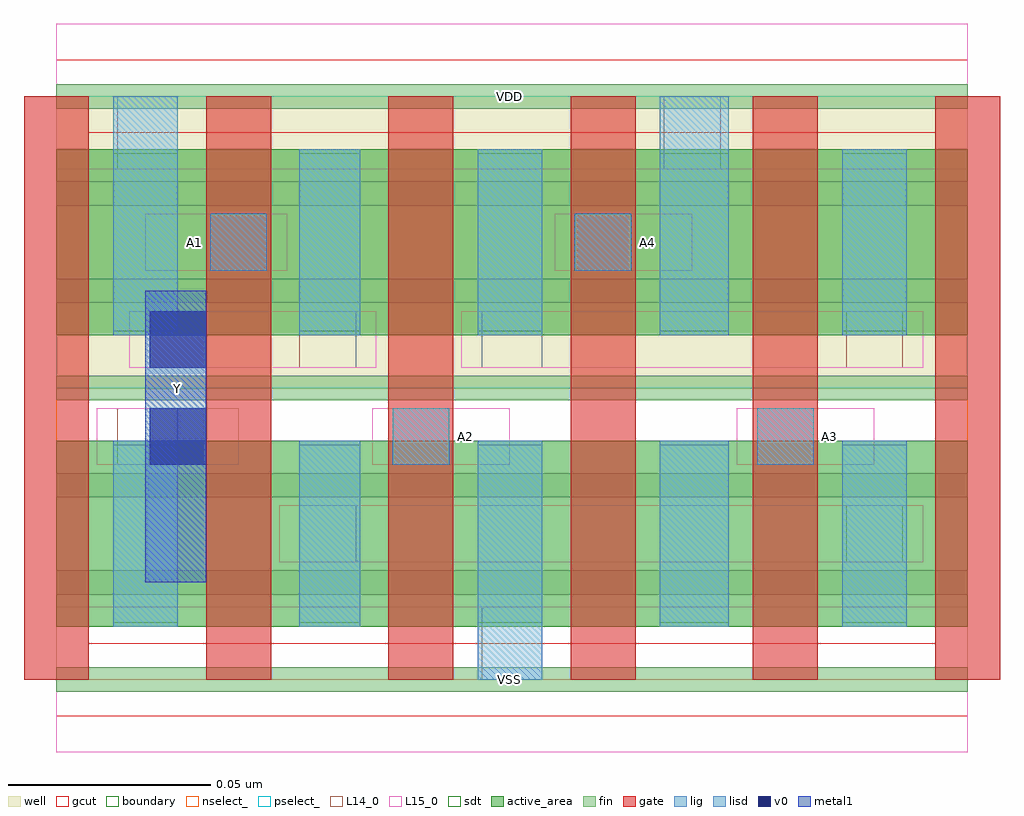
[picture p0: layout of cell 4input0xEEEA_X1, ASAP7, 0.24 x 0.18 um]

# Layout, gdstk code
import gdstk
lib = gdstk.Library(unit=1e-6, precision=1e-09)
def R(c, l, rs):  # rectangles x0, y0, x1, y1
    for r in rs: c.add(gdstk.rectangle(r[:2], r[2:], *l))
def A(c, l, x, y, w, h, nx, ny, dx, dy):  # array of equal rectangles
    R(c, l, [(x+i*dx, y+j*dy, x+i*dx+w, y+j*dy+h) for i in range(nx) for j in range(ny)])
def P(c, l, *ps):  # polygons
    for p in ps: c.add(gdstk.Polygon(p, *l))
well = (1, 0)
fin = (2, 0)
gate = (7, 0)
gcut = (10, 0)
active_area = (11, 0)
nselect_ = (12, 0)
pselect_ = (13, 0)
L14_0 = (14, 0)
L15_0 = (15, 0)
lig = (16, 0)
lisd = (17, 0)
v0 = (18, 0)
metal1 = (19, 0)
sdt = (88, 0)
boundary = (100, 0)

c_4input0xeeea_x1 = lib.new_cell('4input0xEEEA_X1')
R(c_4input0xeeea_x1, well, [(0,0.072,0.225,0.144)])
A(c_4input0xeeea_x1, fin, 0, -0.003, 0.225, 0.006, 1, 7, 0, 0.024)
A(c_4input0xeeea_x1, gate, -0.008, 0, 0.016, 0.144, 6, 1, 0.045, 0)
P(c_4input0xeeea_x1, gcut, [(0,-0.009),(0,0),(-0.008,0),(-0.008,0.135),(0.008,0.135),(0.008,0.009),(0.217,0.009),(0.217,0.135),(-0.008,0.135),(-0.008,0.144),(0,0.144),(0,0.153),(0.225,0.153),(0.225,0.144),(0.233,0.144),(0.233,0),(0.225,0),(0.225,-0.009)])
R(c_4input0xeeea_x1, active_area, [(0,0.013,0.225,0.059), (0,0.085,0.225,0.131)])
R(c_4input0xeeea_x1, nselect_, [(0,0,0.225,0.072)])
R(c_4input0xeeea_x1, pselect_, [(0,0.072,0.225,0.144)])
R(c_4input0xeeea_x1, L14_0, [(0.105,0,0.12,0.018), (0.06,0.029,0.074,0.043), (0.195,0.029,0.209,0.043), (0.015,0.053,0.03,0.067), (0.083,0.053,0.097,0.067), (0.173,0.053,0.187,0.067), (0.06,0.077,0.074,0.091), (0.105,0.077,0.12,0.091), (0.195,0.077,0.209,0.091), (0.038,0.101,0.052,0.115), (0.128,0.101,0.142,0.115), (0.015,0.126,0.03,0.144), (0.15,0.126,0.164,0.144)])
R(c_4input0xeeea_x1, L15_0, [(0,-0.018,0.225,0.018), (0.055,0.029,0.214,0.043), (0.01,0.053,0.045,0.067), (0.078,0.053,0.112,0.067), (0.168,0.053,0.202,0.067), (0.018,0.077,0.079,0.091), (0.1,0.077,0.214,0.091), (0.022,0.101,0.057,0.115), (0.123,0.101,0.157,0.115), (0,0.126,0.225,0.162)])
R(c_4input0xeeea_x1, lig, [(0.083,0.053,0.097,0.067), (0.173,0.053,0.187,0.067), (0.038,0.101,0.052,0.115), (0.128,0.101,0.142,0.115)])
R(c_4input0xeeea_x1, lisd, [(0.104,0,0.12,0.059), (0.014,0.013,0.03,0.059), (0.06,0.013,0.075,0.059), (0.149,0.013,0.166,0.059), (0.194,0.013,0.21,0.059), (0.014,0.085,0.03,0.144), (0.06,0.085,0.075,0.131), (0.104,0.085,0.12,0.131), (0.149,0.085,0.166,0.144), (0.194,0.085,0.21,0.131)])
R(c_4input0xeeea_x1, v0, [(0.023,0.053,0.037,0.067), (0.023,0.077,0.037,0.091)])
R(c_4input0xeeea_x1, metal1, [(0.022,0.024,0.037,0.096)])
A(c_4input0xeeea_x1, sdt, 0.014, 0.014, 0.016, 0.044, 3, 2, 0.09, 0.072)
R(c_4input0xeeea_x1, sdt, [(0.06,0.014,0.075,0.058), (0.149,0.014,0.166,0.058), (0.06,0.086,0.075,0.13), (0.149,0.086,0.166,0.13)])
R(c_4input0xeeea_x1, boundary, [(0,0,0.225,0.144)])
c_4input0xeeea_x1.add(gdstk.Label('A2', (0.101,0.06), layer=15, texttype=251))
c_4input0xeeea_x1.add(gdstk.Label('VSS', (0.112,0), layer=15, texttype=251))
c_4input0xeeea_x1.add(gdstk.Label('VDD', (0.112,0.144), layer=15, texttype=251))
c_4input0xeeea_x1.add(gdstk.Label('A3', (0.191,0.06), layer=15, texttype=251))
c_4input0xeeea_x1.add(gdstk.Label('VSS', (0.112,0), layer=15, texttype=251))
c_4input0xeeea_x1.add(gdstk.Label('VDD', (0.112,0.144), layer=15, texttype=251))
c_4input0xeeea_x1.add(gdstk.Label('A4', (0.146,0.108), layer=15, texttype=251))
c_4input0xeeea_x1.add(gdstk.Label('VSS', (0.112,0), layer=15, texttype=251))
c_4input0xeeea_x1.add(gdstk.Label('VDD', (0.112,0.144), layer=15, texttype=251))
c_4input0xeeea_x1.add(gdstk.Label('A1', (0.034,0.108), layer=15, texttype=251))
c_4input0xeeea_x1.add(gdstk.Label('VSS', (0.112,0), layer=15, texttype=251))
c_4input0xeeea_x1.add(gdstk.Label('VDD', (0.112,0.144), layer=15, texttype=251))
c_4input0xeeea_x1.add(gdstk.Label('VSS', (0.112,0), layer=15, texttype=251))
c_4input0xeeea_x1.add(gdstk.Label('VDD', (0.112,0.144), layer=15, texttype=251))
c_4input0xeeea_x1.add(gdstk.Label('VSS', (0.112,0), layer=3, texttype=251))
c_4input0xeeea_x1.add(gdstk.Label('VSS', (0.112,0), layer=3, texttype=251))
c_4input0xeeea_x1.add(gdstk.Label('VSS', (0.112,0), layer=3, texttype=251))
c_4input0xeeea_x1.add(gdstk.Label('VSS', (0.112,0), layer=3, texttype=251))
c_4input0xeeea_x1.add(gdstk.Label('VSS', (0.112,0), layer=3, texttype=251))
c_4input0xeeea_x1.add(gdstk.Label('VDD', (0.112,0.144), layer=1, texttype=251))
c_4input0xeeea_x1.add(gdstk.Label('VDD', (0.112,0.144), layer=1, texttype=251))
c_4input0xeeea_x1.add(gdstk.Label('VDD', (0.112,0.144), layer=1, texttype=251))
c_4input0xeeea_x1.add(gdstk.Label('VDD', (0.112,0.144), layer=1, texttype=251))
c_4input0xeeea_x1.add(gdstk.Label('VDD', (0.112,0.144), layer=1, texttype=251))
c_4input0xeeea_x1.add(gdstk.Label('Y', (0.03,0.072), layer=19, texttype=251))

lib.write_gds('4input0xEEEA_X1.gds')
